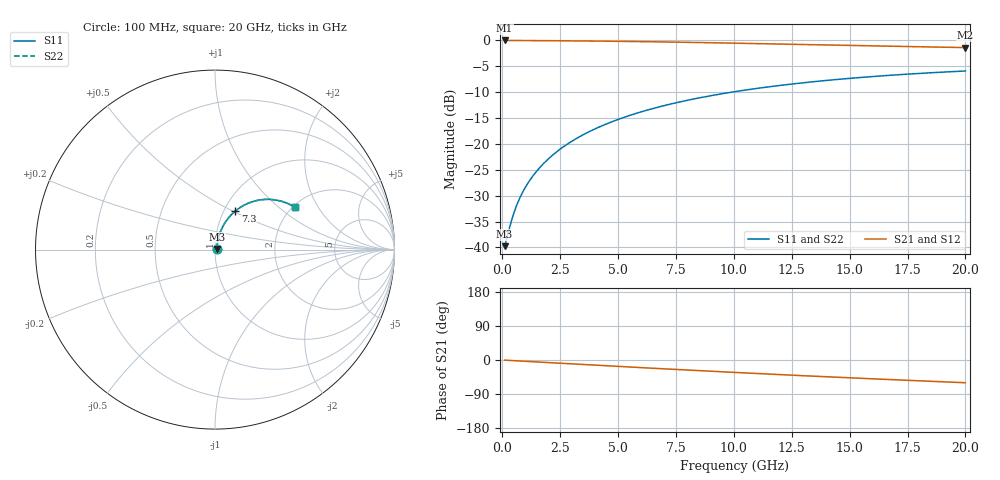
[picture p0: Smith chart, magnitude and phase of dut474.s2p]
! Touchstone file exported from HFSS 2026.1.0
!  File:  C:/ffzhzh/LocalFiles/Ansys_Project_Files/temp_train_TMRDL_474_1783006252_55676.aedt
!  Generated:  11:32:29 PM Jul  2, 2026
!  Design:  TMRDL
!  Project:  temp_train_TMRDL_474_1783006252_55676
! Variables:
!  h_bsmrdl = 2um
!  h_ox = 20um
!  h_rdl = 5um
!  h_sub = 80um
!  h_tmrdl = 2.37um
!  h_tsv = 80um
!  h_via = 3um
!  l_bsmrdl = 300um
!  l_sub = 1350.94um
!  l_tmrdl = 950.94um
!  m_sub = 200um
!  pitch = 34.34um
!  r_tsv = 6um
!  s_tmrdl = 10um
!  w_bsmrdl = 18um
!  w_sub = 500um
!  w_tmrdl = 14.85um
!  x_tsv_center1 = 958.365um
!  x_tsv_center2 = 1276.365um
!  x_tsv_center3 = 2242.155um
!  x_tsv_center4 = 2560.155um
!  x_tsv_center5 = 3525.945um
!  x_tsv_center6 = 3843.945um
# GHz S MA R 50.000000
! Terminal data exported
! Port[1] = TM_RDL1_1_T1
! Port[2] = TM_RDL1_1_T2
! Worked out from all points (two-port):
!   200 points, 100 MHz to 20 GHz, reference 50 ohm
!   highest |S21| = -0.08 dB at 100 MHz (marker M1); lowest = -1.5 dB at 20 GHz (marker M2)
!   |S21| within 3 dB of the highest: start of sweep to end of sweep
!   lowest |S11| = -39.7 dB at 100 MHz (marker M3), VSWR 1.02, Z = 51 + j0.389 ohm
!   |S11| at or under -10 dB: start of sweep to 9.976 GHz
!   |S22| runs from -39.7 to -6.0 dB; largest |S21 - S12| = 9e-15
!   S11 on the Smith chart (normalised r, x): 100 MHz: 1.02, +0.01; 7.3 GHz: 1.13, +0.52; 20 GHz: 2.05, +1.30
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0.1  0.0103 21.7  0.9905 -0.4  0.9905 -0.4  0.0103 21.7
! Gamma 0 0 0 0
! Port Impedance 50 0 50 0
0.4  0.01825 55.0  0.9898 -1.4  0.9898 -1.4  0.01825 55.0
0.6  0.02479 62.7  0.9892 -2.1  0.9892 -2.1  0.02479 62.7
0.7  0.02812 65.0  0.9889 -2.5  0.9889 -2.5  0.02811 65.0
0.9  0.03479 68.2  0.9883 -3.2  0.9883 -3.2  0.03479 68.2
1.2  0.04484 70.9  0.9876 -4.2  0.9876 -4.2  0.04484 71.0
1.4  0.05157 72.0  0.987 -4.8  0.987 -4.8  0.05157 72.0
1.7  0.06169 73.0  0.9862 -5.9  0.9862 -5.9  0.06169 73.0
2.2  0.07861 73.5  0.9848 -7.5  0.9848 -7.5  0.07861 73.5
2.8  0.09888 73.2  0.9827 -9.6  0.9827 -9.6  0.09888 73.2
3.5  0.1224 72.1  0.9798 -11.9  0.9798 -11.9  0.1224 72.1
4.2  0.1455 70.6  0.9764 -14.2  0.9764 -14.2  0.1455 70.6
5  0.1715 68.7  0.9719 -16.9  0.9719 -16.9  0.1715 68.7
5.9  0.2 66.2  0.9661 -19.8  0.9661 -19.8  0.2 66.3
6.8  0.2275 63.7  0.9597 -22.7  0.9597 -22.7  0.2275 63.7
7.3  0.2424 62.3  0.9558 -24.3  0.9558 -24.3  0.2424 62.3
8.6  0.2795 58.5  0.9452 -28.4  0.9452 -28.4  0.2795 58.5
10.1  0.3194 54.2  0.9319 -33.0  0.9319 -33.0  0.3194 54.2
11.7  0.3584 49.7  0.9172 -37.7  0.9172 -37.7  0.3584 49.7
13.4  0.3957 45.0  0.9014 -42.6  0.9014 -42.6  0.3957 45.0
16.7  0.4565 36.2  0.8718 -51.6  0.8718 -51.6  0.4565 36.3
20  0.503 28.0  0.8459 -60.0  0.8459 -60.0  0.503 28.1
